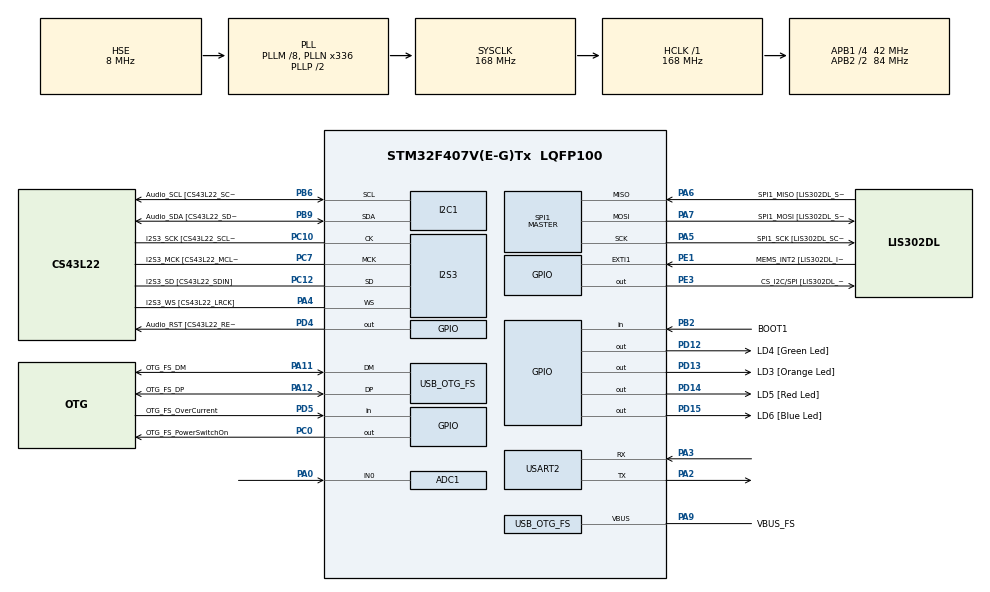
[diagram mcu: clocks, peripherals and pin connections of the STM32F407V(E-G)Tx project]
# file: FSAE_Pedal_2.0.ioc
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ADC1.Channel-0\#ChannelRegularConversion=ADC_CHANNEL_0
ADC1.NbrOfConversionFlag=1
ADC1.Rank-0\#ChannelRegularConversion=1
ADC1.SamplingTime-0\#ChannelRegularConversion=ADC_SAMPLETIME_3CYCLES
ADC1.master=1
I2S3.AudioFreq-Half_Duplex_Master=I2S_AUDIOFREQ_96K
I2S3.ErrorAudioFreq=-2.34 %
I2S3.ErrorAudioFreq-Half_Duplex_Master=0.8 %
I2S3.FullDuplexMode=I2S_FULLDUPLEXMODE_DISABLE
I2S3.Instance=SPI$Index
I2S3.RealAudioFreq=93.75 KHz
I2S3.RealAudioFreq-Half_Duplex_Master=96.774 KHz
I2S3.VirtualMode=I2S_MODE_MASTER
Mcu.Family=STM32F4
Mcu.Name=STM32F407V(E-G)Tx
Mcu.Package=LQFP100
NVIC.OTG_FS_IRQn=true\:0\:0\:false\:false\:true\:true\:true
NVIC.PriorityGroup=NVIC_PRIORITYGROUP_0
PA0-WKUP.Signal=ADCx_IN0
PA10.GPIO_Label=OTG_FS_ID
PA10.GPIO_Mode=GPIO_MODE_AF_PP
PA10.GPIO_PuPd=GPIO_NOPULL
PA10.GPIO_Speed=GPIO_SPEED_FREQ_LOW
PA10.Signal=USB_OTG_FS_ID
PA11.GPIO_Label=OTG_FS_DM
PA11.GPIO_Mode=GPIO_MODE_AF_PP
PA11.GPIO_PuPd=GPIO_NOPULL
PA11.GPIO_Speed=GPIO_SPEED_FREQ_LOW
PA11.Mode=Host_Only
PA11.Signal=USB_OTG_FS_DM
PA12.GPIO_Label=OTG_FS_DP
PA12.GPIO_Mode=GPIO_MODE_AF_PP
PA12.GPIO_PuPd=GPIO_NOPULL
PA12.GPIO_Speed=GPIO_SPEED_FREQ_LOW
PA12.Mode=Host_Only
PA12.Signal=USB_OTG_FS_DP
PA13.GPIO_Label=SWDIO
PA13.Mode=Serial_Wire
PA13.Signal=SYS_JTMS-SWDIO
PA14.GPIO_Label=SWCLK
PA14.Mode=Serial_Wire
PA14.Signal=SYS_JTCK-SWCLK
PA2.Mode=Asynchronous
PA2.Signal=USART2_TX
PA3.Mode=Asynchronous
PA3.Signal=USART2_RX
PA4.GPIO_Label=I2S3_WS [CS43L22_LRCK]
PA4.GPIO_Mode=GPIO_MODE_AF_PP
PA4.GPIO_PuPd=GPIO_NOPULL
PA4.GPIO_Speed=GPIO_SPEED_FREQ_LOW
PA4.Mode=Half_Duplex_Master
PA4.Signal=I2S3_WS
PA5.GPIO_Label=SPI1_SCK [LIS302DL_SCL/SPC]
PA5.GPIO_Mode=GPIO_MODE_AF_PP
PA5.GPIO_PuPd=GPIO_NOPULL
PA5.GPIO_Speed=GPIO_SPEED_FREQ_LOW
PA5.Mode=Full_Duplex_Master
PA5.Signal=SPI1_SCK
PA6.GPIO_Label=SPI1_MISO [LIS302DL_SDO]
PA6.GPIO_Mode=GPIO_MODE_AF_PP
PA6.GPIO_PuPd=GPIO_NOPULL
PA6.GPIO_Speed=GPIO_SPEED_FREQ_LOW
PA6.Mode=Full_Duplex_Master
PA6.Signal=SPI1_MISO
PA7.GPIO_Label=SPI1_MOSI [LIS302DL_SDA/SDI/SDO]
PA7.GPIO_Mode=GPIO_MODE_AF_PP
PA7.GPIO_PuPd=GPIO_NOPULL
PA7.GPIO_Speed=GPIO_SPEED_FREQ_LOW
PA7.Mode=Full_Duplex_Master
PA7.Signal=SPI1_MOSI
PA9.GPIO_Label=VBUS_FS
PA9.GPIO_Mode=GPIO_MODE_INPUT
PA9.GPIO_PuPd=GPIO_NOPULL
PA9.Mode=Activate_VBUS
PA9.Signal=USB_OTG_FS_VBUS
PB10.GPIO_Label=CLK_IN [MP45DT02_CLK]
PB10.GPIO_Mode=GPIO_MODE_AF_PP
PB10.GPIO_PuPd=GPIO_NOPULL
PB10.GPIO_Speed=GPIO_SPEED_FREQ_LOW
PB10.Signal=I2S2_CK
PB2.GPIO_Label=BOOT1
PB2.GPIO_Mode=GPIO_MODE_INPUT
PB2.GPIO_PuPd=GPIO_NOPULL
PB2.Signal=GPIO_Input
PB3.GPIO_Label=SWO
PB3.Signal=SYS_JTDO-SWO
PB6.GPIO_Label=Audio_SCL [CS43L22_SCL]
PB6.GPIO_Mode=GPIO_MODE_AF_OD
PB6.GPIO_PuPd=GPIO_NOPULL
PB6.GPIO_Speed=GPIO_SPEED_FREQ_LOW
PB6.Mode=I2C
PB6.Signal=I2C1_SCL
PB9.GPIO_Label=Audio_SDA [CS43L22_SDA]
PB9.GPIO_Mode=GPIO_MODE_AF_OD
PB9.GPIO_PuPd=GPIO_NOPULL
PB9.GPIO_Speed=GPIO_SPEED_FREQ_LOW
PB9.Mode=I2C
PB9.Signal=I2C1_SDA
PC0.GPIO_Label=OTG_FS_PowerSwitchOn
PC0.GPIO_PuPd=GPIO_NOPULL
PC0.GPIO_Speed=GPIO_SPEED_FREQ_LOW
PC0.PinState=GPIO_PIN_SET
PC0.Signal=GPIO_Output
PC10.GPIO_Label=I2S3_SCK [CS43L22_SCLK]
PC10.GPIO_Mode=GPIO_MODE_AF_PP
PC10.GPIO_PuPd=GPIO_NOPULL
PC10.GPIO_Speed=GPIO_SPEED_FREQ_LOW
PC10.Mode=Half_Duplex_Master
PC10.Signal=I2S3_CK
PC12.GPIO_Label=I2S3_SD [CS43L22_SDIN]
PC12.GPIO_Mode=GPIO_MODE_AF_PP
PC12.GPIO_PuPd=GPIO_NOPULL
PC12.GPIO_Speed=GPIO_SPEED_FREQ_LOW
PC12.Mode=Half_Duplex_Master
PC12.Signal=I2S3_SD
PC14-OSC32_IN.GPIO_Label=PC14-OSC32_IN
PC14-OSC32_IN.Mode=LSE-External-Oscillator
PC14-OSC32_IN.Signal=RCC_OSC32_IN
PC15-OSC32_OUT.GPIO_Label=PC15-OSC32_OUT
PC15-OSC32_OUT.Mode=LSE-External-Oscillator
PC15-OSC32_OUT.Signal=RCC_OSC32_OUT
PC3.GPIO_Label=PDM_OUT [MP45DT02_DOUT]
PC3.GPIO_Mode=GPIO_MODE_AF_PP
PC3.GPIO_PuPd=GPIO_NOPULL
PC3.GPIO_Speed=GPIO_SPEED_FREQ_LOW
PC3.Signal=I2S2_SD
PC7.GPIO_Label=I2S3_MCK [CS43L22_MCLK]
PC7.GPIO_Mode=GPIO_MODE_AF_PP
PC7.GPIO_PuPd=GPIO_NOPULL
PC7.GPIO_Speed=GPIO_SPEED_FREQ_LOW
PC7.Mode=Master_Clock_Activated
PC7.Signal=I2S3_MCK
PD12.GPIO_Label=LD4 [Green Led]
PD12.GPIO_PuPd=GPIO_NOPULL
PD12.GPIO_Speed=GPIO_SPEED_FREQ_LOW
PD12.Signal=GPIO_Output
PD13.GPIO_Label=LD3 [Orange Led]
PD13.GPIO_PuPd=GPIO_NOPULL
PD13.GPIO_Speed=GPIO_SPEED_FREQ_LOW
PD13.Signal=GPIO_Output
PD14.GPIO_Label=LD5 [Red Led]
PD14.GPIO_PuPd=GPIO_NOPULL
PD14.GPIO_Speed=GPIO_SPEED_FREQ_LOW
PD14.Signal=GPIO_Output
PD15.GPIO_Label=LD6 [Blue Led]
PD15.GPIO_PuPd=GPIO_NOPULL
PD15.GPIO_Speed=GPIO_SPEED_FREQ_LOW
PD15.Signal=GPIO_Output
PD4.GPIO_Label=Audio_RST [CS43L22_RESET]
PD4.GPIO_PuPd=GPIO_NOPULL
PD4.GPIO_Speed=GPIO_SPEED_FREQ_LOW
PD4.Signal=GPIO_Output
PD5.GPIO_Label=OTG_FS_OverCurrent
PD5.GPIO_Mode=GPIO_MODE_INPUT
PD5.GPIO_PuPd=GPIO_NOPULL
PD5.Signal=GPIO_Input
PE1.GPIO_Label=MEMS_INT2 [LIS302DL_INT2]
PE1.GPIO_ModeDefaultEXTI=GPIO_MODE_EVT_RISING
PE1.GPIO_PuPd=GPIO_NOPULL
PE1.Signal=GPXTI1
PE3.GPIO_Label=CS_I2C/SPI [LIS302DL_CS_I2C/SPI]
PE3.GPIO_PuPd=GPIO_NOPULL
PE3.GPIO_Speed=GPIO_SPEED_FREQ_LOW
PE3.Signal=GPIO_Output
PH0-OSC_IN.GPIO_Label=PH0-OSC_IN
PH0-OSC_IN.Mode=HSE-External-Oscillator
PH0-OSC_IN.Signal=RCC_OSC_IN
PH1-OSC_OUT.GPIO_Label=PH1-OSC_OUT
PH1-OSC_OUT.Mode=HSE-External-Oscillator
PH1-OSC_OUT.Signal=RCC_OSC_OUT
ProjectManager.HeapSize=0x200
ProjectManager.StackSize=0x400
ProjectManager.TargetToolchain=STM32CubeIDE
RCC.48MHZClocksFreq_Value=48000000
RCC.AHBFreq_Value=168000000
RCC.APB1CLKDivider=RCC_HCLK_DIV4
RCC.APB1Freq_Value=42000000
RCC.APB1TimFreq_Value=84000000
RCC.APB2CLKDivider=RCC_HCLK_DIV2
RCC.APB2Freq_Value=84000000
RCC.APB2TimFreq_Value=168000000
RCC.CortexFreq_Value=168000000
RCC.HCLKFreq_Value=168000000
RCC.HSE_VALUE=8000000
RCC.HSI_VALUE=16000000
RCC.PLLM=8
RCC.PLLN=336
RCC.PLLQ=7
RCC.SYSCLKFreq_VALUE=168000000
RCC.SYSCLKSource=RCC_SYSCLKSOURCE_PLLCLK
RCC.VCOOutputFreq_Value=336000000
SH.ADCx_IN0.0=ADC1_IN0,IN0
SPI1.BaudRatePrescaler-Full_Duplex_Master=SPI_BAUDRATEPRESCALER_2
SPI1.CalculateBaudRate-Full_Duplex_Master=42.0 MBits/s
SPI1.Direction=SPI_DIRECTION_2LINES
SPI1.Mode=SPI_MODE_MASTER
SPI1.Mode-Full_Duplex_Master=SPI_MODE_MASTER
SPI1.VirtualType=VM_MASTER
USART2.VirtualMode=VM_ASYNC
USB_HOST.BSP.number=1
USB_HOST.USBH_HandleTypeDef-CDC_FS=hUsbHostFS
USB_HOST.VirtualModeFS=Cdc
USB_HOST0.BSP.STBoard=false
USB_HOST0.BSP.api=Unknown
USB_HOST0.BSP.i2caddr=0
USB_HOST0.BSP.i2creg=0
USB_HOST0.BSP.instance=PC0
USB_HOST0.BSP.ip=GPIO
USB_HOST0.BSP.mode=Output
USB_HOST0.BSP.name=Drive_VBUS_FS
USB_HOST0.BSP.solution=PC0
USB_OTG_FS.VirtualMode=Host_Only
USB_OTG_FS.phy_itface=HCD_PHY_EMBEDDED
VP_USB_HOST_VS_USB_HOST_CDC_FS.Mode=CDC_FS
board=STM32F407G-DISC1

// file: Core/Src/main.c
/* USER CODE BEGIN Header */
/**
  ******************************************************************************
  * @file           : main.c
  * @brief          : Main program body
  ******************************************************************************
  * @attention
  *
  * <h2><center>&copy; Copyright (c) 2020 STMicroelectronics.
  * All rights reserved.</center></h2>
  *
  * This software component is licensed by ST under Ultimate Liberty license
  * SLA0044, the "License"; You may not use this file except in compliance with
  * the License. You may obtain a copy of the License at:
  *                             www.st.com/SLA0044
  *
  ******************************************************************************
  */
/* USER CODE END Header */
#include "main.h"
#include "usb_host.h"

/* USER CODE BEGIN Includes */
#include <string.h>
#include <math.h>
#include <stdio.h>

/* USER CODE END Includes */

ADC_HandleTypeDef hadc1;

I2C_HandleTypeDef hi2c1;

I2S_HandleTypeDef hi2s3;

SPI_HandleTypeDef hspi1;

UART_HandleTypeDef huart2;

void SystemClock_Config(void);
static void MX_GPIO_Init(void);
static void MX_I2C1_Init(void);
static void MX_I2S3_Init(void);
static void MX_SPI1_Init(void);
static void MX_ADC1_Init(void);
static void MX_USART2_UART_Init(void);
void MX_USB_HOST_Process(void);

int main(void)
{
  /* USER CODE BEGIN 1 */
	uint16_t raw;
	uint16_t percent;
	uint16_t val;
	char msg[10];      // used for transmitting

  /* USER CODE END 1 */

  /* MCU Configuration--------------------------------------------------------*/

  /* Reset of all peripherals, Initializes the Flash interface and the Systick. */
  HAL_Init();

  /* Configure the system clock */
  SystemClock_Config();

  /* Initialize all configured peripherals */
  MX_GPIO_Init();
  MX_I2C1_Init();
  MX_I2S3_Init();
  MX_SPI1_Init();
  MX_USB_HOST_Init();
  MX_ADC1_Init();
  MX_USART2_UART_Init();

  /* Infinite loop */
  /* USER CODE BEGIN WHILE */
  uint32_t map(uint16_t percent, double stiffness, double regenThreshold){

	  if(percent <= regenThreshold){
		  return 0;
	  }

	  double temp = 100*pow((percent-regenThreshold)/(100-regenThreshold), stiffness);

	  temp = round(temp);
	  return (uint16_t)temp;
  }

  /*Configurable Variables*/
  double stiffness = 2;
  double regenThreshold = 20;

  while (1)
  {

	  // Get ADC value
	  HAL_ADC_Start(&hadc1);
	  HAL_ADC_PollForConversion(&hadc1, HAL_MAX_DELAY);
	  raw = HAL_ADC_GetValue(&hadc1);

	  // Change the output into a percentage
	  percent = round((raw/4095.0)*100.0);
	  percent = 100 - percent;
	  val = map(percent, stiffness, regenThreshold);

	  // Convert to string and print
	  sprintf(msg, "%hu\r\n", val); // raw and percent are interchangeable
	  HAL_UART_Transmit(&huart2, (uint8_t*)msg, strlen(msg), HAL_MAX_DELAY);

	  //Pretend we have something else to do for a while
	  HAL_Delay(1);

    /* USER CODE END WHILE */
    MX_USB_HOST_Process();

  }
}

void SystemClock_Config(void)
{
  RCC_OscInitTypeDef RCC_OscInitStruct = {0};
  RCC_ClkInitTypeDef RCC_ClkInitStruct = {0};
  RCC_PeriphCLKInitTypeDef PeriphClkInitStruct = {0};

  /** Configure the main internal regulator output voltage
  */
  __HAL_RCC_PWR_CLK_ENABLE();
  __HAL_PWR_VOLTAGESCALING_CONFIG(PWR_REGULATOR_VOLTAGE_SCALE1);
  /** Initializes the RCC Oscillators according to the specified parameters
  * in the RCC_OscInitTypeDef structure.
  */
  RCC_OscInitStruct.OscillatorType = RCC_OSCILLATORTYPE_HSE;
  RCC_OscInitStruct.HSEState = RCC_HSE_ON;
  RCC_OscInitStruct.PLL.PLLState = RCC_PLL_ON;
  RCC_OscInitStruct.PLL.PLLSource = RCC_PLLSOURCE_HSE;
  RCC_OscInitStruct.PLL.PLLM = 8;
  RCC_OscInitStruct.PLL.PLLN = 336;
  RCC_OscInitStruct.PLL.PLLP = RCC_PLLP_DIV2;
  RCC_OscInitStruct.PLL.PLLQ = 7;
  if (HAL_RCC_OscConfig(&RCC_OscInitStruct) != HAL_OK)
  {
    Error_Handler();
  }
  /** Initializes the CPU, AHB and APB buses clocks
  */
  RCC_ClkInitStruct.ClockType = RCC_CLOCKTYPE_HCLK|RCC_CLOCKTYPE_SYSCLK
                              |RCC_CLOCKTYPE_PCLK1|RCC_CLOCKTYPE_PCLK2;
  RCC_ClkInitStruct.SYSCLKSource = RCC_SYSCLKSOURCE_PLLCLK;
  RCC_ClkInitStruct.AHBCLKDivider = RCC_SYSCLK_DIV1;
  RCC_ClkInitStruct.APB1CLKDivider = RCC_HCLK_DIV4;
  RCC_ClkInitStruct.APB2CLKDivider = RCC_HCLK_DIV2;

  if (HAL_RCC_ClockConfig(&RCC_ClkInitStruct, FLASH_LATENCY_5) != HAL_OK)
  {
    Error_Handler();
  }
  PeriphClkInitStruct.PeriphClockSelection = RCC_PERIPHCLK_I2S;
  PeriphClkInitStruct.PLLI2S.PLLI2SN = 192;
  PeriphClkInitStruct.PLLI2S.PLLI2SR = 2;
  if (HAL_RCCEx_PeriphCLKConfig(&PeriphClkInitStruct) != HAL_OK)
  {
    Error_Handler();
  }
}

static void MX_ADC1_Init(void)
{

  ADC_ChannelConfTypeDef sConfig = {0};

  /** Configure the global features of the ADC (Clock, Resolution, Data Alignment and number of conversion)
  */
  hadc1.Instance = ADC1;
  hadc1.Init.ClockPrescaler = ADC_CLOCK_SYNC_PCLK_DIV4;
  hadc1.Init.Resolution = ADC_RESOLUTION_12B;
  hadc1.Init.ScanConvMode = DISABLE;
  hadc1.Init.ContinuousConvMode = DISABLE;
  hadc1.Init.DiscontinuousConvMode = DISABLE;
  hadc1.Init.ExternalTrigConvEdge = ADC_EXTERNALTRIGCONVEDGE_NONE;
  hadc1.Init.ExternalTrigConv = ADC_SOFTWARE_START;
  hadc1.Init.DataAlign = ADC_DATAALIGN_RIGHT;
  hadc1.Init.NbrOfConversion = 1;
  hadc1.Init.DMAContinuousRequests = DISABLE;
  hadc1.Init.EOCSelection = ADC_EOC_SINGLE_CONV;
  if (HAL_ADC_Init(&hadc1) != HAL_OK)
  {
    Error_Handler();
  }
  /** Configure for the selected ADC regular channel its corresponding rank in the sequencer and its sample time.
  */
  sConfig.Channel = ADC_CHANNEL_0;
  sConfig.Rank = 1;
  sConfig.SamplingTime = ADC_SAMPLETIME_3CYCLES;
  if (HAL_ADC_ConfigChannel(&hadc1, &sConfig) != HAL_OK)
  {
    Error_Handler();
  }

}

static void MX_I2C1_Init(void)
{

  hi2c1.Instance = I2C1;
  hi2c1.Init.ClockSpeed = 100000;
  hi2c1.Init.DutyCycle = I2C_DUTYCYCLE_2;
  hi2c1.Init.OwnAddress1 = 0;
  hi2c1.Init.AddressingMode = I2C_ADDRESSINGMODE_7BIT;
  hi2c1.Init.DualAddressMode = I2C_DUALADDRESS_DISABLE;
  hi2c1.Init.OwnAddress2 = 0;
  hi2c1.Init.GeneralCallMode = I2C_GENERALCALL_DISABLE;
  hi2c1.Init.NoStretchMode = I2C_NOSTRETCH_DISABLE;
  if (HAL_I2C_Init(&hi2c1) != HAL_OK)
  {
    Error_Handler();
  }

}

static void MX_I2S3_Init(void)
{

  hi2s3.Instance = SPI3;
  hi2s3.Init.Mode = I2S_MODE_MASTER_TX;
  hi2s3.Init.Standard = I2S_STANDARD_PHILIPS;
  hi2s3.Init.DataFormat = I2S_DATAFORMAT_16B;
  hi2s3.Init.MCLKOutput = I2S_MCLKOUTPUT_ENABLE;
  hi2s3.Init.AudioFreq = I2S_AUDIOFREQ_96K;
  hi2s3.Init.CPOL = I2S_CPOL_LOW;
  hi2s3.Init.ClockSource = I2S_CLOCK_PLL;
  hi2s3.Init.FullDuplexMode = I2S_FULLDUPLEXMODE_DISABLE;
  if (HAL_I2S_Init(&hi2s3) != HAL_OK)
  {
    Error_Handler();
  }

}

static void MX_SPI1_Init(void)
{

  /* SPI1 parameter configuration*/
  hspi1.Instance = SPI1;
  hspi1.Init.Mode = SPI_MODE_MASTER;
  hspi1.Init.Direction = SPI_DIRECTION_2LINES;
  hspi1.Init.DataSize = SPI_DATASIZE_8BIT;
  hspi1.Init.CLKPolarity = SPI_POLARITY_LOW;
  hspi1.Init.CLKPhase = SPI_PHASE_1EDGE;
  hspi1.Init.NSS = SPI_NSS_SOFT;
  hspi1.Init.BaudRatePrescaler = SPI_BAUDRATEPRESCALER_2;
  hspi1.Init.FirstBit = SPI_FIRSTBIT_MSB;
  hspi1.Init.TIMode = SPI_TIMODE_DISABLE;
  hspi1.Init.CRCCalculation = SPI_CRCCALCULATION_DISABLE;
  hspi1.Init.CRCPolynomial = 10;
  if (HAL_SPI_Init(&hspi1) != HAL_OK)
  {
    Error_Handler();
  }

}

static void MX_USART2_UART_Init(void)
{

  huart2.Instance = USART2;
  huart2.Init.BaudRate = 115200;
  huart2.Init.WordLength = UART_WORDLENGTH_8B;
  huart2.Init.StopBits = UART_STOPBITS_1;
  huart2.Init.Parity = UART_PARITY_NONE;
  huart2.Init.Mode = UART_MODE_TX_RX;
  huart2.Init.HwFlowCtl = UART_HWCONTROL_NONE;
  huart2.Init.OverSampling = UART_OVERSAMPLING_16;
  if (HAL_UART_Init(&huart2) != HAL_OK)
  {
    Error_Handler();
  }

}

static void MX_GPIO_Init(void)
{
  GPIO_InitTypeDef GPIO_InitStruct = {0};

  /* GPIO Ports Clock Enable */
  __HAL_RCC_GPIOE_CLK_ENABLE();
  __HAL_RCC_GPIOC_CLK_ENABLE();
  __HAL_RCC_GPIOH_CLK_ENABLE();
  __HAL_RCC_GPIOA_CLK_ENABLE();
  __HAL_RCC_GPIOB_CLK_ENABLE();
  __HAL_RCC_GPIOD_CLK_ENABLE();

  /*Configure GPIO pin Output Level */
  HAL_GPIO_WritePin(CS_I2C_SPI_GPIO_Port, CS_I2C_SPI_Pin, GPIO_PIN_RESET);

  /*Configure GPIO pin Output Level */
  HAL_GPIO_WritePin(OTG_FS_PowerSwitchOn_GPIO_Port, OTG_FS_PowerSwitchOn_Pin, GPIO_PIN_SET);

  /*Configure GPIO pin Output Level */
  HAL_GPIO_WritePin(GPIOD, LD4_Pin|LD3_Pin|LD5_Pin|LD6_Pin
                          |Audio_RST_Pin, GPIO_PIN_RESET);

  /*Configure GPIO pin Output Level */
  HAL_GPIO_WritePin(GPIOA, GPIO_PIN_10, GPIO_PIN_RESET);

  /*Configure GPIO pin : CS_I2C_SPI_Pin */
  GPIO_InitStruct.Pin = CS_I2C_SPI_Pin;
  GPIO_InitStruct.Mode = GPIO_MODE_OUTPUT_PP;
  GPIO_InitStruct.Pull = GPIO_NOPULL;
  GPIO_InitStruct.Speed = GPIO_SPEED_FREQ_LOW;
  HAL_GPIO_Init(CS_I2C_SPI_GPIO_Port, &GPIO_InitStruct);

  /*Configure GPIO pin : OTG_FS_PowerSwitchOn_Pin */
  GPIO_InitStruct.Pin = OTG_FS_PowerSwitchOn_Pin;
  GPIO_InitStruct.Mode = GPIO_MODE_OUTPUT_PP;
  GPIO_InitStruct.Pull = GPIO_NOPULL;
  GPIO_InitStruct.Speed = GPIO_SPEED_FREQ_LOW;
  HAL_GPIO_Init(OTG_FS_PowerSwitchOn_GPIO_Port, &GPIO_InitStruct);

  /*Configure GPIO pin : PDM_OUT_Pin */
  GPIO_InitStruct.Pin = PDM_OUT_Pin;
  GPIO_InitStruct.Mode = GPIO_MODE_AF_PP;
  GPIO_InitStruct.Pull = GPIO_NOPULL;
  GPIO_InitStruct.Speed = GPIO_SPEED_FREQ_LOW;
  GPIO_InitStruct.Alternate = GPIO_AF5_SPI2;
  HAL_GPIO_Init(PDM_OUT_GPIO_Port, &GPIO_InitStruct);

  /*Configure GPIO pin : BOOT1_Pin */
  GPIO_InitStruct.Pin = BOOT1_Pin;
  GPIO_InitStruct.Mode = GPIO_MODE_INPUT;
  GPIO_InitStruct.Pull = GPIO_NOPULL;
  HAL_GPIO_Init(BOOT1_GPIO_Port, &GPIO_InitStruct);

  /*Configure GPIO pin : CLK_IN_Pin */
  GPIO_InitStruct.Pin = CLK_IN_Pin;
  GPIO_InitStruct.Mode = GPIO_MODE_AF_PP;
  GPIO_InitStruct.Pull = GPIO_NOPULL;
  GPIO_InitStruct.Speed = GPIO_SPEED_FREQ_LOW;
  GPIO_InitStruct.Alternate = GPIO_AF5_SPI2;
  HAL_GPIO_Init(CLK_IN_GPIO_Port, &GPIO_InitStruct);

  /*Configure GPIO pins : LD4_Pin LD3_Pin LD5_Pin LD6_Pin
                           Audio_RST_Pin */
  GPIO_InitStruct.Pin = LD4_Pin|LD3_Pin|LD5_Pin|LD6_Pin
                          |Audio_RST_Pin;
  GPIO_InitStruct.Mode = GPIO_MODE_OUTPUT_PP;
  GPIO_InitStruct.Pull = GPIO_NOPULL;
  GPIO_InitStruct.Speed = GPIO_SPEED_FREQ_LOW;
  HAL_GPIO_Init(GPIOD, &GPIO_InitStruct);

  /*Configure GPIO pin : PA10 */
  GPIO_InitStruct.Pin = GPIO_PIN_10;
  GPIO_InitStruct.Mode = GPIO_MODE_OUTPUT_PP;
  GPIO_InitStruct.Pull = GPIO_NOPULL;
  GPIO_InitStruct.Speed = GPIO_SPEED_FREQ_LOW;
  HAL_GPIO_Init(GPIOA, &GPIO_InitStruct);

  /*Configure GPIO pin : OTG_FS_OverCurrent_Pin */
  GPIO_InitStruct.Pin = OTG_FS_OverCurrent_Pin;
  GPIO_InitStruct.Mode = GPIO_MODE_INPUT;
  GPIO_InitStruct.Pull = GPIO_NOPULL;
  HAL_GPIO_Init(OTG_FS_OverCurrent_GPIO_Port, &GPIO_InitStruct);

  /*Configure GPIO pin : MEMS_INT2_Pin */
  GPIO_InitStruct.Pin = MEMS_INT2_Pin;
  GPIO_InitStruct.Mode = GPIO_MODE_EVT_RISING;
  GPIO_InitStruct.Pull = GPIO_NOPULL;
  HAL_GPIO_Init(MEMS_INT2_GPIO_Port, &GPIO_InitStruct);

}

void Error_Handler(void)
{
}

/************************ (C) COPYRIGHT STMicroelectronics *****END OF FILE****/
